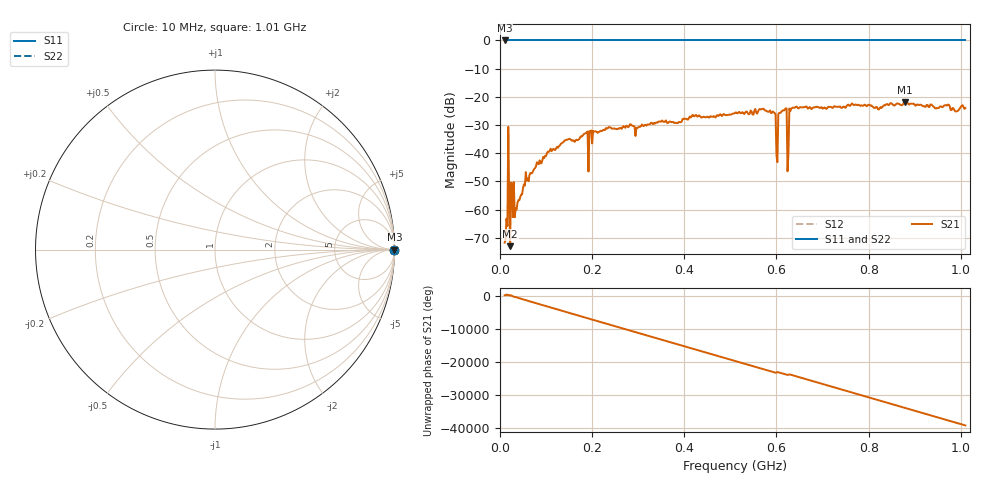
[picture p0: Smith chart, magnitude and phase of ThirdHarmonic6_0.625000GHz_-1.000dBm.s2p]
! 8/15/2025 8:35:28 PM
! C:\ANRITSUVNA\TEMP\TEMP.S2P
! CHANNEL.1
! TR.MEASUREMENT
! RAW.DATA
! RF.CORRECTION.OFF
! AVERAGING.OFF
! IF.BANDWIDTH: 5KHZ
! SWEEPTYPE:  FREQ.SWEEP(Linear)
! Reference Plane Port Info
! PORT:  PORT1  PORT2
! DISTANCE:  0  m  0  m
! TIME:  0  s  0  s
! PHASE.OFFSET:  0  deg.  0  deg.
! LOSS:  0  dB  0  dB
! REF.LOSS:  0  dB  0  dB
! REF.FREQ:  0  Hz  0  Hz
! Power Info
! POWER:  -20  dBm  -20  dBm
! EFF.POWER:  -20  dBm  -20  dBm
! SOURCE.ATTEN:  0  dB  0  dB
! TEST.ATTEN:  0  dB  0  dB
# GHZ S RI R 50.0
! FREQ.GHZ  S11RE  S11IM  S21RE  S21IM  S12RE  S12IM  S22RE  S22IM
!; PortSelection: Port_12
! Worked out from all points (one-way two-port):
!   501 points, 10 MHz to 1.01 GHz, reference 50 ohm
!   highest |S21| = -21.90 dB at 878 MHz (marker M1); lowest = -73.0 dB at 22 MHz (marker M2)
!   lowest |S11| = 0.0 dB at 10 MHz (marker M3)
!   |S11| at or under -10 dB: nowhere
!   |S22| runs from 0.0 to 0.0 dB; largest |S21 - S12| = 1.1
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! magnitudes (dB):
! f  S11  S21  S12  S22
! 10 MHz  0.0  -71.7  0.0  0.0
! 16 MHz  0.0  -65.8  0.0  0.0
! 22 MHz  0.0  -73.0  0.0  0.0
! 24 MHz  0.0  -50.4  0.0  0.0
! 28 MHz  0.0  -62.7  0.0  0.0
! 36 MHz  0.0  -60.0  0.0  0.0
! 56 MHz  0.0  -46.7  0.0  0.0
! 106 MHz  0.0  -39.5  0.0  0.0
! 178 MHz  0.0  -34.1  0.0  0.0
! 344 MHz  0.0  -28.8  0.0  0.0
! 510 MHz  0.0  -25.7  0.0  0.0
! 594 MHz  0.0  -25.5  0.0  0.0
! 602 MHz  0.0  -43.2  0.0  0.0
! 608 MHz  0.0  -25.7  0.0  0.0
! 616 MHz  0.0  -24.9  0.0  0.0
! 622 MHz  0.0  -24.1  0.0  0.0
! 628 MHz  0.0  -24.1  0.0  0.0
! 632 MHz  0.0  -24.1  0.0  0.0
! 678 MHz  0.0  -24.0  0.0  0.0
! 844 MHz  0.0  -22.9  0.0  0.0
! 878 MHz  0.0  -21.9  0.0  0.0
! 1.01 GHz  0.0  -24.0  0.0  0.0
